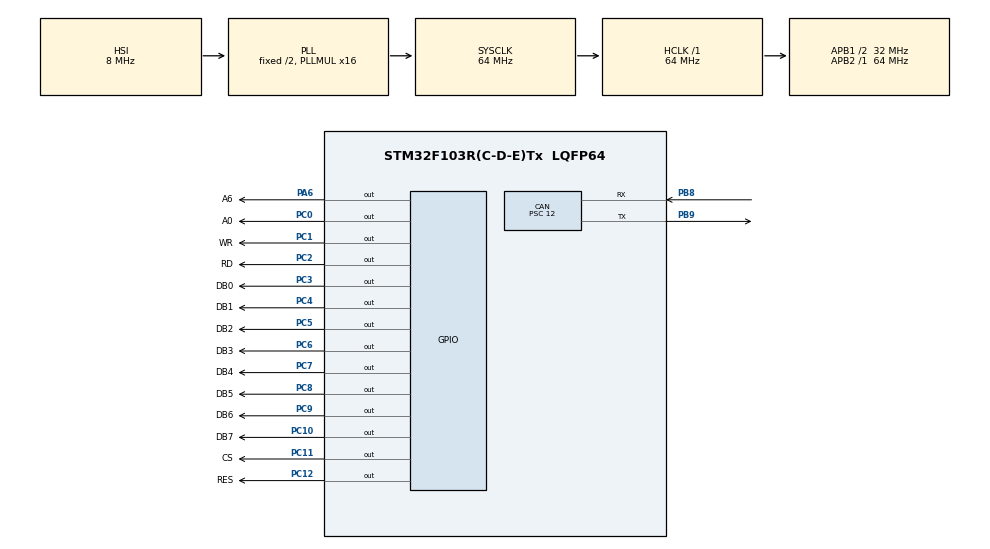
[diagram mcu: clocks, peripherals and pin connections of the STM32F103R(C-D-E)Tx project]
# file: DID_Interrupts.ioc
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CAN.BS1=CAN_BS1_13TQ
CAN.BS2=CAN_BS2_2TQ
CAN.CalculateBaudRate=166666
CAN.CalculateTimeBit=6000.00
CAN.CalculateTimeQuantum=375.0
CAN.Prescaler=12
Mcu.Family=STM32F1
Mcu.Name=STM32F103R(C-D-E)Tx
Mcu.Package=LQFP64
NVIC.CAN1_RX1_IRQn=true\:0\:0\:false\:false\:true\:true\:true
NVIC.PriorityGroup=NVIC_PRIORITYGROUP_4
PA13.Mode=Serial_Wire
PA13.Signal=SYS_JTMS-SWDIO
PA14.Mode=Serial_Wire
PA14.Signal=SYS_JTCK-SWCLK
PA6.GPIO_Label=A6
PA6.GPIO_PuPd=GPIO_PULLDOWN
PA6.Signal=GPIO_Output
PB8.Mode=CAN_Activate
PB8.Signal=CAN_RX
PB9.Mode=CAN_Activate
PB9.Signal=CAN_TX
PC0.GPIO_Label=A0
PC0.Signal=GPIO_Output
PC1.GPIO_Label=WR
PC1.Signal=GPIO_Output
PC10.GPIO_Label=DB7
PC10.Signal=GPIO_Output
PC11.GPIO_Label=CS
PC11.Signal=GPIO_Output
PC12.GPIO_Label=RES
PC12.Signal=GPIO_Output
PC2.GPIO_Label=RD
PC2.Signal=GPIO_Output
PC3.GPIO_Label=DB0
PC3.Signal=GPIO_Output
PC4.GPIO_Label=DB1
PC4.Signal=GPIO_Output
PC5.GPIO_Label=DB2
PC5.Signal=GPIO_Output
PC6.GPIO_Label=DB3
PC6.Signal=GPIO_Output
PC7.GPIO_Label=DB4
PC7.Signal=GPIO_Output
PC8.GPIO_Label=DB5
PC8.Signal=GPIO_Output
PC9.GPIO_Label=DB6
PC9.Signal=GPIO_Output
ProjectManager.HeapSize=0x200
ProjectManager.StackSize=0x400
ProjectManager.TargetToolchain=STM32CubeIDE
RCC.AHBFreq_Value=64000000
RCC.APB1CLKDivider=RCC_HCLK_DIV2
RCC.APB1Freq_Value=32000000
RCC.APB1TimFreq_Value=64000000
RCC.APB2Freq_Value=64000000
RCC.APB2TimFreq_Value=64000000
RCC.HCLKFreq_Value=64000000
RCC.PLLMUL=RCC_PLL_MUL16
RCC.SYSCLKFreq_VALUE=64000000
RCC.SYSCLKSource=RCC_SYSCLKSOURCE_PLLCLK
RCC.USBFreq_Value=64000000
board=custom

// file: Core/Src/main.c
/* USER CODE BEGIN Header */
/**
  ******************************************************************************
  * @file           : main.c
  * @brief          : Main program body
  ******************************************************************************
  * @attention
  *
  * <h2><center>&copy; Copyright (c) 2022 STMicroelectronics.
  * All rights reserved.</center></h2>
  *
  * This software component is licensed by ST under BSD 3-Clause license,
  * the "License"; You may not use this file except in compliance with the
  * License. You may obtain a copy of the License at:
  *                        opensource.org/licenses/BSD-3-Clause
  *
  ******************************************************************************
  */
/* USER CODE END Header */
#include "main.h"
#include "can.h"
#include "gpio.h"

/* USER CODE BEGIN Includes */

#include "LCD.h"

/* USER CODE END Includes */

/* USER CODE BEGIN PV */

// CAN filtering
CAN_FilterTypeDef CAN_filter0;
CAN_FilterTypeDef CAN_filter1;

// CAN receiving
CAN_RxHeaderTypeDef CAN_rx_header;
uint8_t CAN_rx_data[8];

// Changing pages
uint8_t button_pressed = 0;
uint8_t timer_at_max = 0;

/* USER CODE END PV */

void SystemClock_Config(void);

/* USER CODE BEGIN 0 */

// Function invoked by CAN FIFO 0 interrupt
void HAL_CAN_RxFifo0MsgPendingCallback(CAN_HandleTypeDef *hcan)
{
	if (HAL_CAN_GetRxFifoFillLevel(hcan, CAN_RX_FIFO0) != 0)
	{
	  // Take data from FIFO mailboxes and populate the CAN_rx_msg struct and CAN_rx_data array
		HAL_CAN_GetRxMessage(hcan, CAN_RX_FIFO0, &CAN_rx_header, CAN_rx_data);

	  /**
	  *
	  * Switch logic for updating display when CAN messages arrive
	  *
	  * Check id
	  * Update variable values (This comes first so that values can update in the background)
	  * If displaying variable on current page, update display value
	  * Note: pages are set up when DisplayScreen() is called, only values need to be updated
	  *
	  */

	  switch (CAN_rx_header.StdId)
	  {
		  // 0x400 IDs
		  case (0x400):
				// Change Page Button Press
				button_pressed = (uint8_t) (CAN_rx_data[0] && 1); // Next screen pressed = first bit of first byte

				cruise_speed_val = CAN_rx_data[1];
				if (page_num_val == 1)
				{
					UpdateScreenParameter(1234, 12, 0, CRUISE_SPEED_DATA_XPOS, SPEED_YPOS);
				}
				break;

		  // 0x500 IDs
		  case (0x503):
				speed_val = CAN_rx_data[0]; //TODO: Receive data according to bits sent in the 8 byte array
				if (page_num_val == 1)
				{
					UpdateScreenParameter(1234, 12, 0, SPEED_DATA_XPOS, SPEED_YPOS);
				}
				break;

		  case (0x50B):
				motor_temp_val = CAN_rx_data[0];
				if (page_num_val == 1)
				{
					UpdateScreenParameter(1234, 12, 1, MOTOR_TEMP_DATA_XPOS, SPEED_YPOS);
				}
				break;

		  // 0x600 IDs
		  case (0x623):
				batt_volt_val = CAN_rx_data[0];
				if (page_num_val == 1)
				{
					UpdateScreenParameter(1234, 12, 1, BATT_VOLT_DATA_XPOS, SPEED_YPOS);
				}
				break;

		  case (0x624):
				batt_curr_val = CAN_rx_data[0];
				if (page_num_val == 1)
				{
					UpdateScreenParameter(1234, 12, 1, BATT_CURR_DATA_XPOS, SPEED_YPOS);
				}
				break;

		  case (0x627):
				batt_temp_val = CAN_rx_data[0];
				if (page_num_val == 1)
				{
					UpdateScreenParameter(1234, 12, 1, BATT_TEMP_DATA_XPOS, SPEED_YPOS);
				}
				break;
	  }
	}
}

/* USER CODE END 0 */

int main(void)
{

  /* MCU Configuration--------------------------------------------------------*/

  /* Reset of all peripherals, Initializes the Flash interface and the Systick. */
  HAL_Init();

  /* Configure the system clock */
  SystemClock_Config();

  /* Initialize all configured peripherals */
  MX_GPIO_Init();
  MX_CAN_Init();
  /* USER CODE BEGIN 2 */

  // CAN Filter Initialization
  CanFilterSetup();
  HAL_CAN_Start(&hcan);

  // CAN Interrupt Initialization
  HAL_CAN_ActivateNotification(&hcan, CAN_IT_RX_FIFO0_MSG_PENDING);

  /* USER CODE END 2 */

  /* Infinite loop */
  /* USER CODE BEGIN WHILE */
  while (1)
  {
	if (button_pressed == 1 || timer_at_max == 1) // TODO: make timer function (after x seconds, go back to home page)
	{
		  if (page_num_val < PAGE_NUM_MAX)
		  {
			  page_num_val++;
		  }
		  else
		  {
			  page_num_val = 1;
		  }

		  button_pressed = 0;

		  DisplayScreen(); // template page display logic moved temporarily into this function
	}

    /* USER CODE END WHILE */

  }
}

void SystemClock_Config(void)
{
  RCC_OscInitTypeDef RCC_OscInitStruct = {0};
  RCC_ClkInitTypeDef RCC_ClkInitStruct = {0};

  /** Initializes the RCC Oscillators according to the specified parameters
  * in the RCC_OscInitTypeDef structure.
  */
  RCC_OscInitStruct.OscillatorType = RCC_OSCILLATORTYPE_HSI;
  RCC_OscInitStruct.HSIState = RCC_HSI_ON;
  RCC_OscInitStruct.HSICalibrationValue = RCC_HSICALIBRATION_DEFAULT;
  RCC_OscInitStruct.PLL.PLLState = RCC_PLL_ON;
  RCC_OscInitStruct.PLL.PLLSource = RCC_PLLSOURCE_HSI_DIV2;
  RCC_OscInitStruct.PLL.PLLMUL = RCC_PLL_MUL16;
  if (HAL_RCC_OscConfig(&RCC_OscInitStruct) != HAL_OK)
  {
    Error_Handler();
  }
  /** Initializes the CPU, AHB and APB buses clocks
  */
  RCC_ClkInitStruct.ClockType = RCC_CLOCKTYPE_HCLK|RCC_CLOCKTYPE_SYSCLK
                              |RCC_CLOCKTYPE_PCLK1|RCC_CLOCKTYPE_PCLK2;
  RCC_ClkInitStruct.SYSCLKSource = RCC_SYSCLKSOURCE_PLLCLK;
  RCC_ClkInitStruct.AHBCLKDivider = RCC_SYSCLK_DIV1;
  RCC_ClkInitStruct.APB1CLKDivider = RCC_HCLK_DIV2;
  RCC_ClkInitStruct.APB2CLKDivider = RCC_HCLK_DIV1;

  if (HAL_RCC_ClockConfig(&RCC_ClkInitStruct, FLASH_LATENCY_2) != HAL_OK)
  {
    Error_Handler();
  }
}

void Error_Handler(void)
{
  __disable_irq();
  while (1)
  {
  }
}

/************************ (C) COPYRIGHT STMicroelectronics *****END OF FILE****/
